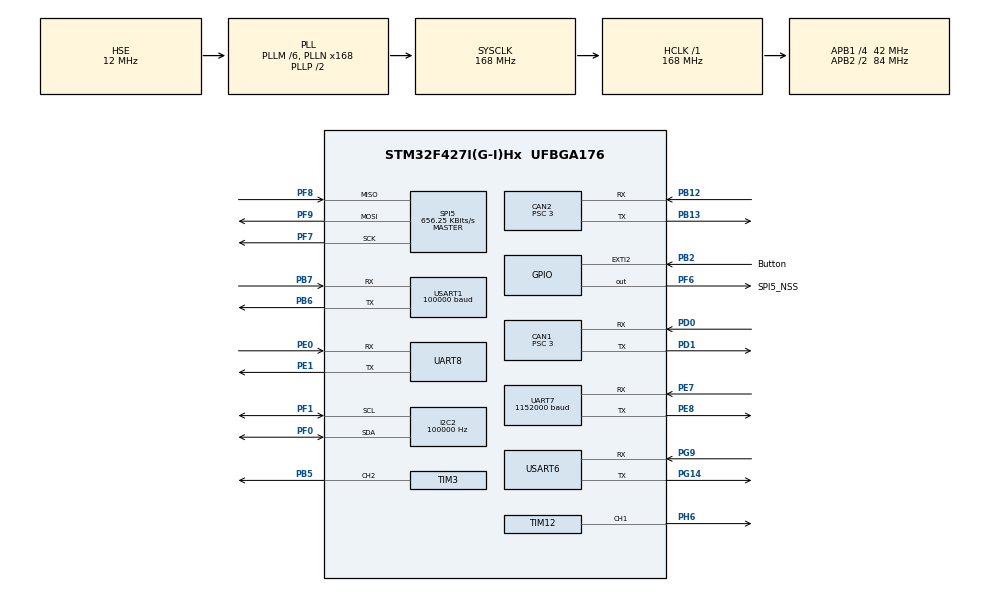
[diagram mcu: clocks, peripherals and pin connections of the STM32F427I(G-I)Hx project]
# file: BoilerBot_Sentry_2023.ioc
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CAN1.ABOM=ENABLE
CAN1.AWUM=ENABLE
CAN1.BS1=CAN_BS1_10TQ
CAN1.BS2=CAN_BS2_3TQ
CAN1.CalculateBaudRate=1000000
CAN1.CalculateTimeBit=1000
CAN1.CalculateTimeQuantum=71.42857142857143
CAN1.NART=ENABLE
CAN1.Prescaler=3
CAN2.ABOM=ENABLE
CAN2.AWUM=ENABLE
CAN2.BS1=CAN_BS1_10TQ
CAN2.BS2=CAN_BS2_3TQ
CAN2.CalculateBaudRate=1000000
CAN2.CalculateTimeBit=1000
CAN2.CalculateTimeQuantum=71.42857142857143
CAN2.NART=ENABLE
CAN2.Prescaler=3
CAN2.RFLM=ENABLE
Dma.Request0=USART1_RX
Dma.Request1=USART6_RX
Dma.Request2=UART7_RX
Dma.UART7_RX.2.Direction=DMA_PERIPH_TO_MEMORY
Dma.UART7_RX.2.FIFOMode=DMA_FIFOMODE_DISABLE
Dma.UART7_RX.2.Instance=DMA1_Stream3
Dma.UART7_RX.2.MemDataAlignment=DMA_MDATAALIGN_BYTE
Dma.UART7_RX.2.MemInc=DMA_MINC_ENABLE
Dma.UART7_RX.2.Mode=DMA_CIRCULAR
Dma.UART7_RX.2.PeriphDataAlignment=DMA_PDATAALIGN_BYTE
Dma.UART7_RX.2.PeriphInc=DMA_PINC_DISABLE
Dma.UART7_RX.2.Priority=DMA_PRIORITY_HIGH
Dma.USART1_RX.0.Direction=DMA_PERIPH_TO_MEMORY
Dma.USART1_RX.0.FIFOMode=DMA_FIFOMODE_DISABLE
Dma.USART1_RX.0.Instance=DMA2_Stream2
Dma.USART1_RX.0.MemDataAlignment=DMA_MDATAALIGN_BYTE
Dma.USART1_RX.0.MemInc=DMA_MINC_ENABLE
Dma.USART1_RX.0.Mode=DMA_CIRCULAR
Dma.USART1_RX.0.PeriphDataAlignment=DMA_PDATAALIGN_BYTE
Dma.USART1_RX.0.PeriphInc=DMA_PINC_DISABLE
Dma.USART1_RX.0.Priority=DMA_PRIORITY_LOW
Dma.USART6_RX.1.Direction=DMA_PERIPH_TO_MEMORY
Dma.USART6_RX.1.FIFOMode=DMA_FIFOMODE_DISABLE
Dma.USART6_RX.1.Instance=DMA2_Stream1
Dma.USART6_RX.1.MemDataAlignment=DMA_MDATAALIGN_BYTE
Dma.USART6_RX.1.MemInc=DMA_MINC_ENABLE
Dma.USART6_RX.1.Mode=DMA_CIRCULAR
Dma.USART6_RX.1.PeriphDataAlignment=DMA_PDATAALIGN_BYTE
Dma.USART6_RX.1.PeriphInc=DMA_PINC_DISABLE
Dma.USART6_RX.1.Priority=DMA_PRIORITY_LOW
FREERTOS.INCLUDE_vTaskDelayUntil=1
FREERTOS.Queues01=CAN1_Receive,32,CAN_Export_Data_t,0,Dynamic,NULL,NULL;CAN2_Receive,32,CAN_Export_Data_t,0,Dynamic,NULL,NULL;CAN_Send,32,CAN_Send_Data_t,0,Dynamic,NULL,NULL
FREERTOS.Tasks01=Task_IMU,0,384,StartIMUTask,Default,NULL,Dynamic,NULL,NULL;Task_Init,2,128,General_Init,Default,NULL,Dynamic,NULL,NULL;Task_CAN_Send,2,256,CAN_Send_ALL,Default,NULL,Dynamic,NULL,NULL;Task_CAN1_Rec,2,256,CAN1_Rec,Default,NULL,Dynamic,NULL,NULL;Task_CAN2_Rec,2,256,CAN2_Rec,Default,NULL,Dynamic,NULL,NULL;Task_Robot_Ctrl,3,640,Robot_Control,Default,NULL,Dynamic,NULL,NULL;Task_Mini_PC,2,128,Mini_PC_Send,Default,NULL,Dynamic,NULL,NULL
FREERTOS.configTOTAL_HEAP_SIZE=20000
FREERTOS.configUSE_TIMERS=0
I2C2.Analog_Filter=I2C_ANALOGFILTER_DISABLE
I2C2.ClockSpeed=100000
I2C2.I2C_Mode=I2C_Standard
I2C2.OwnAddress=0
Mcu.Family=STM32F4
Mcu.Name=STM32F427I(G-I)Hx
Mcu.Package=UFBGA176
NVIC.CAN1_RX0_IRQn=true\:6\:0\:true\:false\:true\:false\:true\:false\:true
NVIC.CAN2_RX0_IRQn=true\:6\:0\:true\:false\:true\:false\:true\:false\:true
NVIC.DMA1_Stream3_IRQn=true\:5\:0\:false\:false\:true\:true\:false\:true\:true
NVIC.DMA2_Stream1_IRQn=true\:5\:0\:false\:false\:true\:false\:false\:false\:true
NVIC.DMA2_Stream2_IRQn=true\:0\:0\:true\:false\:true\:false\:false\:false\:true
NVIC.EXTI2_IRQn=true\:5\:0\:false\:false\:true\:true\:true\:true\:true
NVIC.PriorityGroup=NVIC_PRIORITYGROUP_4
NVIC.TIM6_DAC_IRQn=true\:0\:0\:true\:false\:true\:false\:false\:true\:true
NVIC.TimeBase=TIM6_DAC_IRQn
NVIC.TimeBaseIP=TIM6
NVIC.UART7_IRQn=true\:5\:0\:false\:false\:true\:true\:true\:false\:true
NVIC.USART1_IRQn=true\:5\:0\:true\:false\:true\:false\:true\:false\:true
NVIC.USART6_IRQn=true\:5\:0\:true\:false\:true\:false\:true\:false\:true
PA13.Mode=Serial_Wire
PA13.Signal=SYS_JTMS-SWDIO
PA14.Mode=Serial_Wire
PA14.Signal=SYS_JTCK-SWCLK
PB12.Mode=CAN_Activate
PB12.Signal=CAN2_RX
PB13.Mode=CAN_Activate
PB13.Signal=CAN2_TX
PB2/BOOT1.GPIO_Label=Button
PB2/BOOT1.GPIO_PuPd=GPIO_PULLUP
PB2/BOOT1.Signal=GPXTI2
PB5.Signal=S_TIM3_CH2
PB6.GPIO_PuPd=GPIO_PULLUP
PB6.Mode=Asynchronous
PB6.Signal=USART1_TX
PB7.GPIO_PuPd=GPIO_PULLUP
PB7.Mode=Asynchronous
PB7.Signal=USART1_RX
PD0.Mode=CAN_Activate
PD0.Signal=CAN1_RX
PD1.Mode=CAN_Activate
PD1.Signal=CAN1_TX
PE0.Mode=Asynchronous
PE0.Signal=UART8_RX
PE1.Mode=Asynchronous
PE1.Signal=UART8_TX
PE7.Mode=Asynchronous
PE7.Signal=UART7_RX
PE8.Mode=Asynchronous
PE8.Signal=UART7_TX
PF0.GPIO_Pu=GPIO_PULLUP
PF0.Mode=I2C
PF0.Signal=I2C2_SDA
PF1.GPIO_Pu=GPIO_PULLUP
PF1.Mode=I2C
PF1.Signal=I2C2_SCL
PF6.GPIO_Label=SPI5_NSS
PF6.GPIO_PuPd=GPIO_PULLUP
PF6.PinState=GPIO_PIN_SET
PF6.Signal=GPIO_Output
PF7.Mode=Full_Duplex_Master
PF7.Signal=SPI5_SCK
PF8.Mode=Full_Duplex_Master
PF8.Signal=SPI5_MISO
PF9.Mode=Full_Duplex_Master
PF9.Signal=SPI5_MOSI
PG14.Mode=Asynchronous
PG14.Signal=USART6_TX
PG9.Mode=Asynchronous
PG9.Signal=USART6_RX
PH0/OSC_IN.Mode=HSE-External-Oscillator
PH0/OSC_IN.Signal=RCC_OSC_IN
PH1/OSC_OUT.Mode=HSE-External-Oscillator
PH1/OSC_OUT.Signal=RCC_OSC_OUT
PH6.Signal=S_TIM12_CH1
ProjectManager.HeapSize=0x200
ProjectManager.StackSize=0x400
ProjectManager.TargetToolchain=MDK-ARM V5.32
RCC.48MHZClocksFreq_Value=48000000
RCC.AHBFreq_Value=168000000
RCC.APB1CLKDivider=RCC_HCLK_DIV4
RCC.APB1Freq_Value=42000000
RCC.APB1TimFreq_Value=84000000
RCC.APB2CLKDivider=RCC_HCLK_DIV2
RCC.APB2Freq_Value=84000000
RCC.APB2TimFreq_Value=168000000
RCC.CortexFreq_Value=168000000
RCC.HCLKFreq_Value=168000000
RCC.HSE_VALUE=12000000
RCC.HSI_VALUE=16000000
RCC.LSE_VALUE=32768
RCC.PLLM=6
RCC.PLLN=168
RCC.PLLQ=7
RCC.PLLSourceVirtual=RCC_PLLSOURCE_HSE
RCC.SYSCLKFreq_VALUE=168000000
RCC.SYSCLKSource=RCC_SYSCLKSOURCE_PLLCLK
RCC.VCOOutputFreq_Value=336000000
SH.S_TIM12_CH1.0=TIM12_CH1,PWM Generation1 CH1
SH.S_TIM3_CH2.0=TIM3_CH2,PWM Generation2 CH2
SPI5.BaudRatePrescaler=SPI_BAUDRATEPRESCALER_128
SPI5.CalculateBaudRate=656.25 KBits/s
SPI5.Direction=SPI_DIRECTION_2LINES
SPI5.Mode=SPI_MODE_MASTER
SPI5.VirtualType=VM_MASTER
TIM12.Channel-PWM\ Generation1\ CH1=TIM_CHANNEL_1
TIM12.Period=0
TIM12.Prescaler=42
TIM3.Channel-PWM\ Generation2\ CH2=TIM_CHANNEL_2
TIM3.Period=4999
TIM7.Period=50
TIM7.Prescaler=84
UART7.BaudRate=1152000
UART7.VirtualMode=Asynchronous
UART8.VirtualMode=Asynchronous
USART1.BaudRate=100000
USART1.VirtualMode=VM_ASYNC
USART6.VirtualMode=VM_ASYNC
VP_FREERTOS_VS_CMSIS_V1.Mode=CMSIS_V1
VP_SYS_VS_tim6.Mode=TIM6
VP_TIM12_VS_ClockSourceINT.Mode=Internal
VP_TIM3_VS_ClockSourceINT.Mode=Internal
VP_TIM7_VS_ClockSourceINT.Mode=Enable_Timer
board=custom

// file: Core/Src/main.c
/* USER CODE BEGIN Header */
/**
  ******************************************************************************
  * @file           : main.c
  * @brief          : Main program body
  ******************************************************************************
  * @attention
  *
  * Copyright (c) 2022 STMicroelectronics.
  * All rights reserved.
  *
  * This software is licensed under terms that can be found in the LICENSE file
  * in the root directory of this software component.
  * If no LICENSE file comes with this software, it is provided AS-IS.
  *
  ******************************************************************************
  */
/* USER CODE END Header */
#include "main.h"
#include "cmsis_os.h"
#include "can.h"
#include "dma.h"
#include "i2c.h"
#include "spi.h"
#include "tim.h"
#include "usart.h"
#include "gpio.h"

void SystemClock_Config(void);
void MX_FREERTOS_Init(void);

int main(void)
{

  /* MCU Configuration--------------------------------------------------------*/

  /* Reset of all peripherals, Initializes the Flash interface and the Systick. */
  HAL_Init();

  /* Configure the system clock */
  SystemClock_Config();

  /* Initialize all configured peripherals */
  MX_GPIO_Init();
  MX_DMA_Init();
  MX_TIM12_Init();
  MX_USART1_UART_Init();
  MX_SPI5_Init();
  MX_TIM3_Init();
  MX_CAN1_Init();
  MX_CAN2_Init();
  MX_I2C2_Init();
  MX_USART6_UART_Init();
  MX_UART7_Init();
  MX_TIM7_Init();
  MX_UART8_Init();

  /* Call init function for freertos objects (in freertos.c) */
  MX_FREERTOS_Init();

  /* Start scheduler */
  osKernelStart();
  /* We should never get here as control is now taken by the scheduler */
  /* Infinite loop */
  while (1)
  {

  }
}

void SystemClock_Config(void)
{
  RCC_OscInitTypeDef RCC_OscInitStruct = {0};
  RCC_ClkInitTypeDef RCC_ClkInitStruct = {0};

  /** Configure the main internal regulator output voltage
  */
  __HAL_RCC_PWR_CLK_ENABLE();
  __HAL_PWR_VOLTAGESCALING_CONFIG(PWR_REGULATOR_VOLTAGE_SCALE1);

  /** Initializes the RCC Oscillators according to the specified parameters
  * in the RCC_OscInitTypeDef structure.
  */
  RCC_OscInitStruct.OscillatorType = RCC_OSCILLATORTYPE_HSE;
  RCC_OscInitStruct.HSEState = RCC_HSE_ON;
  RCC_OscInitStruct.PLL.PLLState = RCC_PLL_ON;
  RCC_OscInitStruct.PLL.PLLSource = RCC_PLLSOURCE_HSE;
  RCC_OscInitStruct.PLL.PLLM = 6;
  RCC_OscInitStruct.PLL.PLLN = 168;
  RCC_OscInitStruct.PLL.PLLP = RCC_PLLP_DIV2;
  RCC_OscInitStruct.PLL.PLLQ = 7;
  if (HAL_RCC_OscConfig(&RCC_OscInitStruct) != HAL_OK)
  {
    Error_Handler();
  }

  /** Initializes the CPU, AHB and APB buses clocks
  */
  RCC_ClkInitStruct.ClockType = RCC_CLOCKTYPE_HCLK|RCC_CLOCKTYPE_SYSCLK
                              |RCC_CLOCKTYPE_PCLK1|RCC_CLOCKTYPE_PCLK2;
  RCC_ClkInitStruct.SYSCLKSource = RCC_SYSCLKSOURCE_PLLCLK;
  RCC_ClkInitStruct.AHBCLKDivider = RCC_SYSCLK_DIV1;
  RCC_ClkInitStruct.APB1CLKDivider = RCC_HCLK_DIV4;
  RCC_ClkInitStruct.APB2CLKDivider = RCC_HCLK_DIV2;

  if (HAL_RCC_ClockConfig(&RCC_ClkInitStruct, FLASH_LATENCY_5) != HAL_OK)
  {
    Error_Handler();
  }
}

void HAL_TIM_PeriodElapsedCallback(TIM_HandleTypeDef *htim)
{
  if (htim->Instance == TIM6) {
    HAL_IncTick();
  }
  /* USER CODE BEGIN Callback 1 */
	if(htim->Instance == TIM7)
	{
		HAL_IncTick();
		FreeRTOSRunTimeTicks++;
	}
  /* USER CODE END Callback 1 */
}

void Error_Handler(void)
{
  __disable_irq();
  while (1)
  {
  }
}

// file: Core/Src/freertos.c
/* USER CODE BEGIN Header */
/**
  ******************************************************************************
  * File Name          : freertos.c
  * Description        : Code for freertos applications
  ******************************************************************************
  * @attention
  *
  * Copyright (c) 2022 STMicroelectronics.
  * All rights reserved.
  *
  * This software is licensed under terms that can be found in the LICENSE file
  * in the root directory of this software component.
  * If no LICENSE file comes with this software, it is provided AS-IS.
  *
  ******************************************************************************
  */
/* USER CODE END Header */

#include "FreeRTOS.h"
#include "task.h"
#include "main.h"
#include "cmsis_os.h"

/* USER CODE BEGIN Includes */
#include <stdio.h>
#include "Board_A_IMU.h"
#include "IMU_Temp_Control.h"
#include "DR16_Remote.h"
#include "M3508_Motor.h"
#include "GM6020_Motor.h"
#include "M2006_Motor.h"
#include "Super_Capacitor.h"
#include "Robot_Control.h"
#include "MPU6050_IMU.h"
#include "WT901_IMU.h"
#include "Fusion.h"
#include "Referee_System.h"
#include "Buzzer.h"
#include "Jetson_Tx2.h"
#include "Odometry.h"
#include "Chassis_Control.h"
#include "Shooting_Control.h"
/* USER CODE END Includes */

/* USER CODE BEGIN Variables */
osThreadId Task_OdometryHandle;
osThreadId Task_SpeedCalcHandle;
/* USER CODE END Variables */
osThreadId Task_IMUHandle;
osThreadId Task_InitHandle;
osThreadId Task_CAN_SendHandle;
osThreadId Task_CAN1_RecHandle;
osThreadId Task_CAN2_RecHandle;
osThreadId Task_Robot_CtrlHandle;
osMessageQId CAN1_ReceiveHandle;
osMessageQId CAN2_ReceiveHandle;
osMessageQId CAN_SendHandle;

void StartIMUTask(void const * argument);
void General_Init(void const * argument);
void CAN_Send_ALL(void const * argument);
void CAN1_Rec(void const * argument);
void CAN2_Rec(void const * argument);
void Robot_Control(void const * argument);

void MX_FREERTOS_Init(void); /* (MISRA C 2004 rule 8.1) */

/* GetIdleTaskMemory prototype (linked to static allocation support) */
void vApplicationGetIdleTaskMemory( StaticTask_t **ppxIdleTaskTCBBuffer, StackType_t **ppxIdleTaskStackBuffer, uint32_t *pulIdleTaskStackSize );

/* USER CODE BEGIN GET_IDLE_TASK_MEMORY */
static StaticTask_t xIdleTaskTCBBuffer;
static StackType_t xIdleStack[configMINIMAL_STACK_SIZE];

void vApplicationGetIdleTaskMemory( StaticTask_t **ppxIdleTaskTCBBuffer, StackType_t **ppxIdleTaskStackBuffer, uint32_t *pulIdleTaskStackSize )
{
  *ppxIdleTaskTCBBuffer = &xIdleTaskTCBBuffer;
  *ppxIdleTaskStackBuffer = &xIdleStack[0];
  *pulIdleTaskStackSize = configMINIMAL_STACK_SIZE;
  /* place for user code */
}
/* USER CODE END GET_IDLE_TASK_MEMORY */

void MX_FREERTOS_Init(void) {

  /* Create the queue(s) */
  /* definition and creation of CAN1_Receive */
  osMessageQDef(CAN1_Receive, 32, CAN_Export_Data_t);
  CAN1_ReceiveHandle = osMessageCreate(osMessageQ(CAN1_Receive), NULL);

  /* definition and creation of CAN2_Receive */
  osMessageQDef(CAN2_Receive, 32, CAN_Export_Data_t);
  CAN2_ReceiveHandle = osMessageCreate(osMessageQ(CAN2_Receive), NULL);

  /* definition and creation of CAN_Send */
  osMessageQDef(CAN_Send, 32, CAN_Send_Data_t);
  CAN_SendHandle = osMessageCreate(osMessageQ(CAN_Send), NULL);

  /* Create the thread(s) */
  /* definition and creation of Task_IMU */
  osThreadDef(Task_IMU, StartIMUTask, osPriorityNormal, 0, 384);
  Task_IMUHandle = osThreadCreate(osThread(Task_IMU), NULL);

  /* definition and creation of Task_Init */
  osThreadDef(Task_Init, General_Init, osPriorityHigh, 0, 128);
  Task_InitHandle = osThreadCreate(osThread(Task_Init), NULL);

  /* definition and creation of Task_CAN_Send */
  osThreadDef(Task_CAN_Send, CAN_Send_ALL, osPriorityHigh, 0, 256);
  Task_CAN_SendHandle = osThreadCreate(osThread(Task_CAN_Send), NULL);

  /* definition and creation of Task_CAN1_Rec */
  osThreadDef(Task_CAN1_Rec, CAN1_Rec, osPriorityHigh, 0, 256);
  Task_CAN1_RecHandle = osThreadCreate(osThread(Task_CAN1_Rec), NULL);

  /* definition and creation of Task_CAN2_Rec */
  osThreadDef(Task_CAN2_Rec, CAN2_Rec, osPriorityHigh, 0, 256);
  Task_CAN2_RecHandle = osThreadCreate(osThread(Task_CAN2_Rec), NULL);

  /* definition and creation of Task_Robot_Ctrl */
  osThreadDef(Task_Robot_Ctrl, Robot_Control, osPriorityRealtime, 0, 640);
  Task_Robot_CtrlHandle = osThreadCreate(osThread(Task_Robot_Ctrl), NULL);

  /* USER CODE BEGIN RTOS_THREADS */
  osThreadDef(Task_Odometry, Odometry, osPriorityAboveNormal, 0, 640);
  Task_OdometryHandle = osThreadCreate(osThread(Task_Odometry), NULL);

  osThreadDef(Task_SpeedCalc, SpeedCalc, osPriorityAboveNormal, 0, 256);
  Task_SpeedCalcHandle = osThreadCreate(osThread(Task_SpeedCalc), NULL);

  /* add threads, ... */
  /* USER CODE END RTOS_THREADS */

}

void StartIMUTask(void const * argument)
{
  /* USER CODE BEGIN StartIMUTask */
	portTickType xLastWakeTime;
  xLastWakeTime = xTaskGetTickCount();

  const TickType_t TimeIncrement = pdMS_TO_TICKS(1);
  /* Infinite loop */
  for(;;)
  {
		//Board_A_IMU_Func.Board_A_IMU_Calibrate(&Board_A_IMU);
		Board_A_IMU_Func.Board_A_IMU_Read_Data(&Board_A_IMU);
		Board_A_IMU_Func.Board_A_IMU_Calc_Angle(&Board_A_IMU);
		IMU_Temp_Control_Func.Board_A_IMU_Temp_Control();

		#ifdef USE_MPU6050
		MPU6050_IMU_Func.MPU6050_IMU_Calibrate(&MPU6050_IMU);
		MPU6050_IMU_Func.MPU6050_IMU_Read_Data(&MPU6050_IMU);
		MPU6050_IMU_Func.MPU6050_IMU_Calc_Angle(&MPU6050_IMU);
		#endif

    vTaskDelayUntil(&xLastWakeTime, TimeIncrement);
  }
  /* USER CODE END StartIMUTask */
}

void General_Init(void const * argument)
{
  /* USER CODE BEGIN General_Init */
  State_Machine.Robot_Ready_Flag = false;
	Buzzer_Func.Buzzer_Init();
	//Buzzer_Func.Buzzer_Robot_Initializing();
  IMU_Temp_Control_Func.Board_A_IMU_Temp_Control_Init();
	Board_A_IMU_Func.Board_A_IMU_Init();
	#ifdef USE_MPU6050
	MPU6050_IMU_Func.MPU6050_IMU_Init();
	#endif
	FusionAhrsInitialise(&MPU6050_IMU_AHRS);
	FusionAhrsInitialise(&Board_A_IMU_AHRS);
	DR16_Func.DR16_USART_Receive_DMA(&huart1);
	Tx2_Func.Jetson_Tx2_Initialization();
	Referee_System_Func.Referee_UART_Receive_Interrupt(&huart6, Referee_System.Buffer, REFEREE_BUFFER_LEN);
	Referee_System_Func.Referee_Set_Robot_State();
  CAN_Func.CAN_IT_Init(&hcan1, CAN1_Type);
  CAN_Func.CAN_IT_Init(&hcan2, CAN2_Type);
	Gimbal_Func.Gimbal_Init();
	Shooting_Func.Shooting_Init();
  Odometry_Func.Init_Robot_Pose();
	vTaskDelete(NULL);
  /* USER CODE END General_Init */
}

void CAN_Send_ALL(void const * argument)
{
  /* USER CODE BEGIN CAN_Send_ALL */
	CAN_Send_Data_t CAN_Send_Data;
  /* Infinite loop */
  for(;;)
  {
    xQueueReceive(CAN_SendHandle, &CAN_Send_Data, portMAX_DELAY);
    HAL_CAN_AddTxMessage(CAN_Send_Data.Canx, &CAN_Send_Data.CAN_TxHeader, CAN_Send_Data.CANx_Send_RxMessage, (uint32_t *)CAN_TX_MAILBOX0);
  }
  /* USER CODE END CAN_Send_ALL */
}

void CAN1_Rec(void const * argument)
{
  /* USER CODE BEGIN CAN1_Rec */
	CAN_Export_Data_t CAN_Export_Data;
	uint32_t ID;
  /* Infinite loop */
  for(;;)
  {
    xQueueReceive(CAN1_ReceiveHandle, &CAN_Export_Data, portMAX_DELAY);
		ID = CAN_Export_Data.CAN_RxHeader.StdId;
		if(ID == GM6020_PITCH_ID)
			GM6020_Func.GM6020_Pitch_Get_Data(CAN_Export_Data);
    else if(ID == SUPERCAP_ID)
			Super_Capacitor_Func.Super_Capacitor_Get_Data(CAN_Export_Data);
		else if(ID == M3508_CHASSIS_FIRST_ID)
			M3508_Func.M3508_Get_Data(CAN_Export_Data, M3508_Chassis[0]);
    else if(ID == M3508_CHASSIS_SECOND_ID)
			M3508_Func.M3508_Get_Data(CAN_Export_Data, M3508_Chassis[1]);
    else if(ID == M3508_CHASSIS_THIRD_ID)
			M3508_Func.M3508_Get_Data(CAN_Export_Data, M3508_Chassis[2]);
    else if(ID == M3508_CHASSIS_FOURTH_ID)
			M3508_Func.M3508_Get_Data(CAN_Export_Data, M3508_Chassis[3]);
		else if(ID == GM6020_YAW_ID)
			GM6020_Func.GM6020_Yaw_Get_Data(CAN_Export_Data);

		Monitor_CAN1.Info_Update_Frame++;
  }
  /* USER CODE END CAN1_Rec */
}

void CAN2_Rec(void const * argument)
{
  /* USER CODE BEGIN CAN2_Rec */
	CAN_Export_Data_t CAN_Export_Data;
	uint32_t ID;
  /* Infinite loop */
  for(;;)
  {
		xQueueReceive(CAN2_ReceiveHandle, &CAN_Export_Data, portMAX_DELAY);
		ID = CAN_Export_Data.CAN_RxHeader.StdId;
    if (ID == M3508_FRIC_WHEEL_LEFT_UP_ID)
      M3508_Func.M3508_Get_Data(CAN_Export_Data, M3508_Fric_Wheel[0]);
    else if (ID == M3508_FRIC_WHEEL_LEFT_DOWN_ID)
      M3508_Func.M3508_Get_Data(CAN_Export_Data, M3508_Fric_Wheel[1]);
    else if (ID == M3508_FRIC_WHEEL_RIGHT_UP_ID)
      M3508_Func.M3508_Get_Data(CAN_Export_Data, M3508_Fric_Wheel[2]);
    else if (ID == M3508_FRIC_WHEEL_RIGHT_DOWN_ID)
      M3508_Func.M3508_Get_Data(CAN_Export_Data, M3508_Fric_Wheel[3]);
		else if(ID == M2006_TRIGGER_LEFT_ID || ID == M2006_TRIGGER_RIGHT_ID)
			M2006_Func.M2006_Trigger_Get_Data(CAN_Export_Data);
		else
		Monitor_CAN2.Info_Update_Frame++;
  }
  /* USER CODE END CAN2_Rec */
}

void Robot_Control(void const * argument)
{
  /* USER CODE BEGIN Robot_Control */
	portTickType xLastWakeTime;
  xLastWakeTime = xTaskGetTickCount();
  const TickType_t TimeIncrement = pdMS_TO_TICKS(2);
  /* Infinite loop */
  for(;;)
  {
    Robot_Control_Func.Robot_Control_Start();
		vTaskDelayUntil(&xLastWakeTime, TimeIncrement);
  }
  /* USER CODE END Robot_Control */
}
